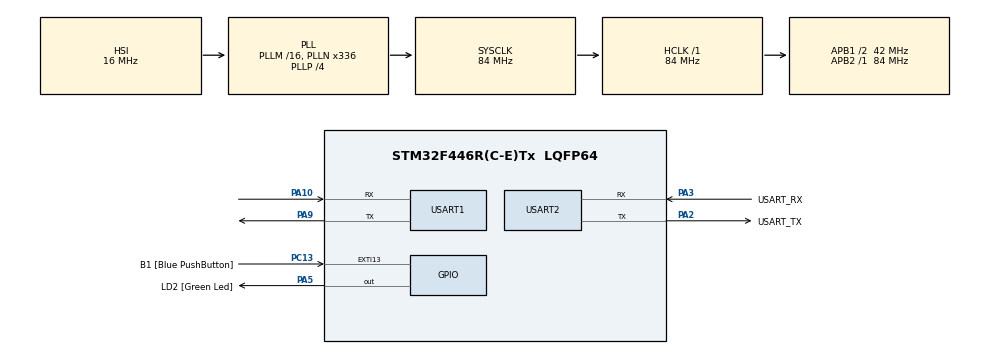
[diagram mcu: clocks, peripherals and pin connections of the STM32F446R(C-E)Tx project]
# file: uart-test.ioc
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Mcu.Family=STM32F4
Mcu.Name=STM32F446R(C-E)Tx
Mcu.Package=LQFP64
NVIC.PriorityGroup=NVIC_PRIORITYGROUP_0
NVIC.USART1_IRQn=true\:0\:0\:false\:false\:true\:true\:true\:true
PA10.Mode=Asynchronous
PA10.Signal=USART1_RX
PA13.GPIO_Label=TMS
PA13.Mode=Serial_Wire
PA13.Signal=SYS_JTMS-SWDIO
PA14.GPIO_Label=TCK
PA14.Mode=Serial_Wire
PA14.Signal=SYS_JTCK-SWCLK
PA2.GPIO_Label=USART_TX
PA2.Mode=Asynchronous
PA2.Signal=USART2_TX
PA3.GPIO_Label=USART_RX
PA3.Mode=Asynchronous
PA3.Signal=USART2_RX
PA5.GPIO_Label=LD2 [Green Led]
PA5.Signal=GPIO_Output
PA9.Mode=Asynchronous
PA9.Signal=USART1_TX
PB3.GPIO_Label=SWO
PB3.Signal=SYS_JTDO-SWO
PC13.GPIO_Label=B1 [Blue PushButton]
PC13.GPIO_ModeDefaultEXTI=GPIO_MODE_IT_FALLING
PC13.Signal=GPXTI13
PC14-OSC32_IN.Mode=LSE-External-Oscillator
PC14-OSC32_IN.Signal=RCC_OSC32_IN
PC15-OSC32_OUT.Mode=LSE-External-Oscillator
PC15-OSC32_OUT.Signal=RCC_OSC32_OUT
PH0-OSC_IN.Mode=HSE-External-Oscillator
PH0-OSC_IN.Signal=RCC_OSC_IN
PH1-OSC_OUT.Mode=HSE-External-Oscillator
PH1-OSC_OUT.Signal=RCC_OSC_OUT
ProjectManager.HeapSize=0x200
ProjectManager.StackSize=0x400
ProjectManager.TargetToolchain=STM32CubeIDE
RCC.48MHZClocksFreq_Value=84000000
RCC.AHBFreq_Value=84000000
RCC.APB1CLKDivider=RCC_HCLK_DIV2
RCC.APB1Freq_Value=42000000
RCC.APB1TimFreq_Value=84000000
RCC.APB2Freq_Value=84000000
RCC.APB2TimFreq_Value=84000000
RCC.CortexFreq_Value=84000000
RCC.FLatency-AdvancedSettings=FLASH_LATENCY_2
RCC.HCLKFreq_Value=84000000
RCC.HSE_VALUE=8000000
RCC.HSI_VALUE=16000000
RCC.PLLN=336
RCC.PLLP=RCC_PLLP_DIV4
RCC.SYSCLKFreq_VALUE=84000000
RCC.SYSCLKSource=RCC_SYSCLKSOURCE_PLLCLK
RCC.USBFreq_Value=168000000
RCC.VCOOutputFreq_Value=336000000
USART1.VirtualMode=VM_ASYNC
USART2.VirtualMode=VM_ASYNC
board=NUCLEO-F446RE

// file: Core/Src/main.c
/* USER CODE BEGIN Header */
/**
  ******************************************************************************
  * @file           : main.c
  * @brief          : Main program body
  ******************************************************************************
  * @attention
  *
  * Copyright (c) 2026 STMicroelectronics.
  * All rights reserved.
  *
  * This software is licensed under terms that can be found in the LICENSE file
  * in the root directory of this software component.
  * If no LICENSE file comes with this software, it is provided AS-IS.
  *
  ******************************************************************************
  */
/* USER CODE END Header */
#include "main.h"

/* USER CODE BEGIN Includes */
#include <string.h>
#include <stdio.h>
#include "pb_decode.h"
#include "led_msg.pb.h"
/* USER CODE END Includes */

UART_HandleTypeDef huart1;
UART_HandleTypeDef huart2;

void SystemClock_Config(void);
static void MX_GPIO_Init(void);
static void MX_USART1_UART_Init(void);
static void MX_USART2_UART_Init(void);

int main(void)
{

  /* USER CODE BEGIN 1 */
  uint8_t rx_buffer[LEDMsg_size];
  /* USER CODE END 1 */

  /* MCU Configuration--------------------------------------------------------*/

  /* Reset of all peripherals, Initializes the Flash interface and the Systick. */
  HAL_Init();

  /* Configure the system clock */
  SystemClock_Config();

  /* Initialize all configured peripherals */
  MX_GPIO_Init();
  MX_USART1_UART_Init();
  MX_USART2_UART_Init();
  /* USER CODE BEGIN 2 */
  LEDMsg my_received_led = LEDMsg_init_default;
  char debug_msg[128];

  // Send a startup message to your PC
  char *start_txt = "STM32 NanoPB Listener Started...\r\n";
  HAL_UART_Transmit(&huart2, (uint8_t*)start_txt, strlen(start_txt), 100);
  /* USER CODE END 2 */

  /* Infinite loop */
  /* USER CODE BEGIN WHILE */
  while (1)
  {
	  /* * 1. Receive data from Pi.
	   * We use LEDMsg_size because your Pi code sends the full std::array.
	   * Timeout is 1000ms (1 second).
	   */
	  HAL_StatusTypeDef status = HAL_UART_Receive(&huart1, rx_buffer, LEDMsg_size, 1000);

	  if (status == HAL_OK)
	  {
		  // 2. Prepare the NanoPB input stream
//		  pb_istream_t stream = pb_istream_from_buffer(rx_buffer, LEDMsg_size);

		  // brute force message length
		  // Find the actual data length (since it's followed by zeros in your array)
		  // We look for the first 0x00 after the text starts.
		  size_t actual_len = 0;
		  while(actual_len < LEDMsg_size && rx_buffer[actual_len] != 0) {
			  actual_len++;
		  }

		  // IMPORTANT: Use actual_len here, not LEDMsg_size!
		  pb_istream_t stream = pb_istream_from_buffer(rx_buffer, actual_len);

		  // test debug thing
//		  for(int x=0; x<10; x++) {
//		      sprintf(debug_msg, "%02X ", rx_buffer[x]);
//		      HAL_UART_Transmit(&huart2, (uint8_t*)debug_msg, strlen(debug_msg), 10);
//		  }
//		  HAL_UART_Transmit(&huart2, (uint8_t*)"\r\n", 2, 10);

		  // 3. Decode the bytes back into the C struct
		  if (pb_decode(&stream, LEDMsg_fields, &my_received_led))
		  {
			  // 4. Act on the data (Toggle LD2 LED on Nucleo)
			  if (my_received_led.ledOn) {
				  HAL_GPIO_WritePin(GPIOA, GPIO_PIN_5, GPIO_PIN_SET);
			  } else {
				  HAL_GPIO_WritePin(GPIOA, GPIO_PIN_5, GPIO_PIN_RESET);
			  }

			  // 5. Send confirmation to PC Serial Monitor
			  snprintf(debug_msg, sizeof(debug_msg), "Recv - ID: %ld, LED: %s, Text: %s\r\n",
					   (long)my_received_led.id,
					   my_received_led.ledOn ? "ON" : "OFF",
					   my_received_led.text);
			  HAL_UART_Transmit(&huart2, (uint8_t*)debug_msg, strlen(debug_msg), 100);
		  }
		  else
		  {
			  // Error: Data received but NanoPB couldn't parse it
			  char *err_msg = "Error: NanoPB Decoding Failed!\r\n";
			  strcat(err_msg, stream.errmsg);
			  HAL_UART_Transmit(&huart2, (uint8_t*)err_msg, strlen(err_msg), 100);

			  // FLUSH the buffer so the next message starts clean
			  __HAL_UART_FLUSH_DRREGISTER(&huart1);
		  }
	  }
	  else if (status == HAL_TIMEOUT)
	  {
		  // Optional: Print a dot or message to PC to show we are still alive
		   char *wait_msg = ".\r\n";
		   HAL_UART_Transmit(&huart2, (uint8_t*)wait_msg, strlen(wait_msg), 10);
	  }
    /* USER CODE END WHILE */

  }
}

void SystemClock_Config(void)
{
  RCC_OscInitTypeDef RCC_OscInitStruct = {0};
  RCC_ClkInitTypeDef RCC_ClkInitStruct = {0};

  /** Configure the main internal regulator output voltage
  */
  __HAL_RCC_PWR_CLK_ENABLE();
  __HAL_PWR_VOLTAGESCALING_CONFIG(PWR_REGULATOR_VOLTAGE_SCALE3);

  /** Initializes the RCC Oscillators according to the specified parameters
  * in the RCC_OscInitTypeDef structure.
  */
  RCC_OscInitStruct.OscillatorType = RCC_OSCILLATORTYPE_HSI;
  RCC_OscInitStruct.HSIState = RCC_HSI_ON;
  RCC_OscInitStruct.HSICalibrationValue = RCC_HSICALIBRATION_DEFAULT;
  RCC_OscInitStruct.PLL.PLLState = RCC_PLL_ON;
  RCC_OscInitStruct.PLL.PLLSource = RCC_PLLSOURCE_HSI;
  RCC_OscInitStruct.PLL.PLLM = 16;
  RCC_OscInitStruct.PLL.PLLN = 336;
  RCC_OscInitStruct.PLL.PLLP = RCC_PLLP_DIV4;
  RCC_OscInitStruct.PLL.PLLQ = 2;
  RCC_OscInitStruct.PLL.PLLR = 2;
  if (HAL_RCC_OscConfig(&RCC_OscInitStruct) != HAL_OK)
  {
    Error_Handler();
  }

  /** Initializes the CPU, AHB and APB buses clocks
  */
  RCC_ClkInitStruct.ClockType = RCC_CLOCKTYPE_HCLK|RCC_CLOCKTYPE_SYSCLK
                              |RCC_CLOCKTYPE_PCLK1|RCC_CLOCKTYPE_PCLK2;
  RCC_ClkInitStruct.SYSCLKSource = RCC_SYSCLKSOURCE_PLLCLK;
  RCC_ClkInitStruct.AHBCLKDivider = RCC_SYSCLK_DIV1;
  RCC_ClkInitStruct.APB1CLKDivider = RCC_HCLK_DIV2;
  RCC_ClkInitStruct.APB2CLKDivider = RCC_HCLK_DIV1;

  if (HAL_RCC_ClockConfig(&RCC_ClkInitStruct, FLASH_LATENCY_2) != HAL_OK)
  {
    Error_Handler();
  }
}

static void MX_USART1_UART_Init(void)
{

  huart1.Instance = USART1;
  huart1.Init.BaudRate = 115200;
  huart1.Init.WordLength = UART_WORDLENGTH_8B;
  huart1.Init.StopBits = UART_STOPBITS_1;
  huart1.Init.Parity = UART_PARITY_NONE;
  huart1.Init.Mode = UART_MODE_TX_RX;
  huart1.Init.HwFlowCtl = UART_HWCONTROL_NONE;
  huart1.Init.OverSampling = UART_OVERSAMPLING_16;
  if (HAL_UART_Init(&huart1) != HAL_OK)
  {
    Error_Handler();
  }

}

static void MX_USART2_UART_Init(void)
{

  huart2.Instance = USART2;
  huart2.Init.BaudRate = 115200;
  huart2.Init.WordLength = UART_WORDLENGTH_8B;
  huart2.Init.StopBits = UART_STOPBITS_1;
  huart2.Init.Parity = UART_PARITY_NONE;
  huart2.Init.Mode = UART_MODE_TX_RX;
  huart2.Init.HwFlowCtl = UART_HWCONTROL_NONE;
  huart2.Init.OverSampling = UART_OVERSAMPLING_16;
  if (HAL_UART_Init(&huart2) != HAL_OK)
  {
    Error_Handler();
  }

}

static void MX_GPIO_Init(void)
{
  GPIO_InitTypeDef GPIO_InitStruct = {0};

  /* GPIO Ports Clock Enable */
  __HAL_RCC_GPIOC_CLK_ENABLE();
  __HAL_RCC_GPIOH_CLK_ENABLE();
  __HAL_RCC_GPIOA_CLK_ENABLE();
  __HAL_RCC_GPIOB_CLK_ENABLE();

  /*Configure GPIO pin Output Level */
  HAL_GPIO_WritePin(LD2_GPIO_Port, LD2_Pin, GPIO_PIN_RESET);

  /*Configure GPIO pin : B1_Pin */
  GPIO_InitStruct.Pin = B1_Pin;
  GPIO_InitStruct.Mode = GPIO_MODE_IT_FALLING;
  GPIO_InitStruct.Pull = GPIO_NOPULL;
  HAL_GPIO_Init(B1_GPIO_Port, &GPIO_InitStruct);

  /*Configure GPIO pin : LD2_Pin */
  GPIO_InitStruct.Pin = LD2_Pin;
  GPIO_InitStruct.Mode = GPIO_MODE_OUTPUT_PP;
  GPIO_InitStruct.Pull = GPIO_NOPULL;
  GPIO_InitStruct.Speed = GPIO_SPEED_FREQ_LOW;
  HAL_GPIO_Init(LD2_GPIO_Port, &GPIO_InitStruct);

}

void Error_Handler(void)
{
  __disable_irq();
  while (1)
  {
  }
}
